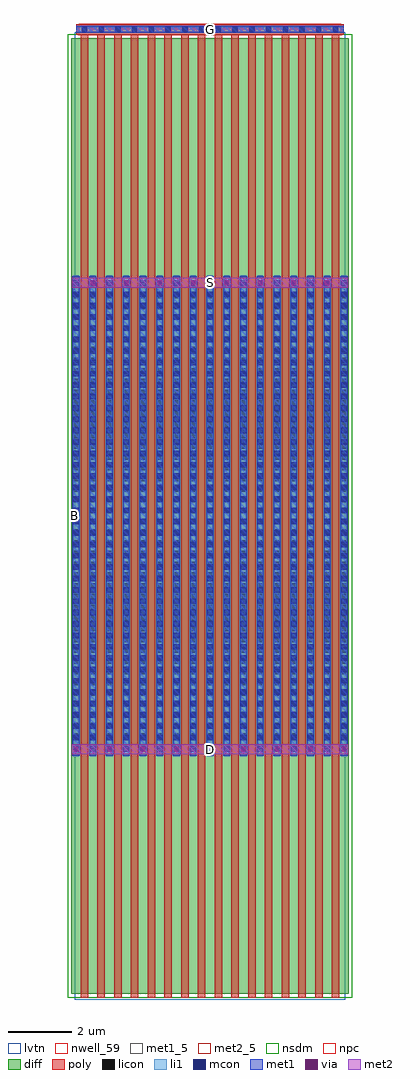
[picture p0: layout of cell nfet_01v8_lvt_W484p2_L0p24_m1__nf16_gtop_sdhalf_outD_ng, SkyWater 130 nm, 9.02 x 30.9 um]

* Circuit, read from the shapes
.subckt nfet_01v8_lvt_W484p2_L0p24_m1__nf16_gtop_sdhalf_outD_ng B D G S
XM1 S G D B sky130_fd_pr__nfet_01v8_lvt w=30.26 l=0.24 m=16
.ends

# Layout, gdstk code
import gdstk
lib = gdstk.Library(unit=1e-6, precision=1e-09)
def R(c, l, rs):  # rectangles x0, y0, x1, y1
    for r in rs: c.add(gdstk.rectangle(r[:2], r[2:], *l))
def A(c, l, x, y, w, h, nx, ny, dx, dy):  # array of equal rectangles
    R(c, l, [(x+i*dx, y+j*dy, x+i*dx+w, y+j*dy+h) for i in range(nx) for j in range(ny)])
nwell_59 = (64, 59)
diff = (65, 20)
poly = (66, 20)
licon = (66, 44)
li1 = (67, 20)
mcon = (67, 44)
met1_5 = (68, 5)
met1 = (68, 20)
via = (68, 44)
met2_5 = (69, 5)
met2 = (69, 20)
nsdm = (93, 44)
npc = (95, 20)
lvtn = (125, 44)

sky130_fd_pr__nfet_01v8_ = lib.new_cell('sky130_fd_pr__nfet_01v8_lvt_GABCE5')
R(sky130_fd_pr__nfet_01v8_, diff, [(-4.385,-15.285,4.385,14.975)])
A(sky130_fd_pr__nfet_01v8_, poly, -4.095, -15.415, 0.24, 30.5, 16, 1, 0.53, 0)
R(sky130_fd_pr__nfet_01v8_, poly, [(-4.24,15.085,4.24,15.415)])
A(sky130_fd_pr__nfet_01v8_, licon, -4.325, -7.55, 0.17, 0.17, 17, 44, 0.53, 0.34)
A(sky130_fd_pr__nfet_01v8_, licon, -4.06, 15.165, 0.17, 0.17, 16, 1, 0.53, 0)
A(sky130_fd_pr__nfet_01v8_, li1, -4.325, -7.77, 0.17, 15.23, 17, 1, 0.53, 0)
R(sky130_fd_pr__nfet_01v8_, li1, [(-4.24,15.165,4.24,15.335)])
A(sky130_fd_pr__nfet_01v8_, mcon, -4.325, -7.62, 0.17, 0.17, 17, 42, 0.53, 0.36)
A(sky130_fd_pr__nfet_01v8_, mcon, -4.06, 15.165, 0.17, 0.17, 16, 1, 0.53, 0)
A(sky130_fd_pr__nfet_01v8_, met1, -4.355, -7.75, 0.23, 15.19, 17, 1, 0.53, 0)
A(sky130_fd_pr__nfet_01v8_, met1, -4.12, 15.135, 0.29, 0.03, 16, 2, 0.53, 0.2)
R(sky130_fd_pr__nfet_01v8_, met1, [(-4.24,15.165,4.24,15.335)])
R(sky130_fd_pr__nfet_01v8_, nsdm, [(-4.51,-15.41,4.51,15.1)])
R(sky130_fd_pr__nfet_01v8_, npc, [(-4.16,15.065,4.16,15.435)])
R(sky130_fd_pr__nfet_01v8_, lvtn, [(-4.275,-15.465,4.275,15.155)])
sky130_fd_pr__nfet_01v8_.add(gdstk.Label('D0', (-4.24,-0.155), layer=67, texttype=5))
sky130_fd_pr__nfet_01v8_.add(gdstk.Label('G', (3.975,15.25), layer=67, texttype=5))
sky130_fd_pr__nfet_01v8_.add(gdstk.Label('G', (3.445,15.25), layer=67, texttype=5))
sky130_fd_pr__nfet_01v8_.add(gdstk.Label('G', (2.915,15.25), layer=67, texttype=5))
sky130_fd_pr__nfet_01v8_.add(gdstk.Label('G', (2.385,15.25), layer=67, texttype=5))
sky130_fd_pr__nfet_01v8_.add(gdstk.Label('G', (1.855,15.25), layer=67, texttype=5))
sky130_fd_pr__nfet_01v8_.add(gdstk.Label('G', (1.325,15.25), layer=67, texttype=5))
sky130_fd_pr__nfet_01v8_.add(gdstk.Label('G', (0.795,15.25), layer=67, texttype=5))
sky130_fd_pr__nfet_01v8_.add(gdstk.Label('G', (0.265,15.25), layer=67, texttype=5))
sky130_fd_pr__nfet_01v8_.add(gdstk.Label('G', (-0.265,15.25), layer=67, texttype=5))
sky130_fd_pr__nfet_01v8_.add(gdstk.Label('G', (-0.795,15.25), layer=67, texttype=5))
sky130_fd_pr__nfet_01v8_.add(gdstk.Label('G', (-1.325,15.25), layer=67, texttype=5))
sky130_fd_pr__nfet_01v8_.add(gdstk.Label('G', (-1.855,15.25), layer=67, texttype=5))
sky130_fd_pr__nfet_01v8_.add(gdstk.Label('G', (-2.385,15.25), layer=67, texttype=5))
sky130_fd_pr__nfet_01v8_.add(gdstk.Label('G', (-2.915,15.25), layer=67, texttype=5))
sky130_fd_pr__nfet_01v8_.add(gdstk.Label('G', (-3.445,15.25), layer=67, texttype=5))
sky130_fd_pr__nfet_01v8_.add(gdstk.Label('G', (-3.975,15.25), layer=67, texttype=5))
sky130_fd_pr__nfet_01v8_.add(gdstk.Label('S1', (-3.71,-0.155), layer=67, texttype=5))
sky130_fd_pr__nfet_01v8_.add(gdstk.Label('D2', (-3.18,-0.155), layer=67, texttype=5))
sky130_fd_pr__nfet_01v8_.add(gdstk.Label('S3', (-2.65,-0.155), layer=67, texttype=5))
sky130_fd_pr__nfet_01v8_.add(gdstk.Label('D4', (-2.12,-0.155), layer=67, texttype=5))
sky130_fd_pr__nfet_01v8_.add(gdstk.Label('S5', (-1.59,-0.155), layer=67, texttype=5))
sky130_fd_pr__nfet_01v8_.add(gdstk.Label('D6', (-1.06,-0.155), layer=67, texttype=5))
sky130_fd_pr__nfet_01v8_.add(gdstk.Label('S7', (-0.53,-0.155), layer=67, texttype=5))
sky130_fd_pr__nfet_01v8_.add(gdstk.Label('D8', (0,-0.155), layer=67, texttype=5))
sky130_fd_pr__nfet_01v8_.add(gdstk.Label('S9', (0.53,-0.155), layer=67, texttype=5))
sky130_fd_pr__nfet_01v8_.add(gdstk.Label('D10', (1.06,-0.155), layer=67, texttype=5))
sky130_fd_pr__nfet_01v8_.add(gdstk.Label('S11', (1.59,-0.155), layer=67, texttype=5))
sky130_fd_pr__nfet_01v8_.add(gdstk.Label('D12', (2.12,-0.155), layer=67, texttype=5))
sky130_fd_pr__nfet_01v8_.add(gdstk.Label('S13', (2.65,-0.155), layer=67, texttype=5))
sky130_fd_pr__nfet_01v8_.add(gdstk.Label('D14', (3.18,-0.155), layer=67, texttype=5))
sky130_fd_pr__nfet_01v8_.add(gdstk.Label('S15', (3.71,-0.155), layer=67, texttype=5))

nfet_01v8_lvt_w484p2_l0p = lib.new_cell('nfet_01v8_lvt_W484p2_L0p24_m1__nf16_gtop_sdhalf_outD_ng')
R(nfet_01v8_lvt_w484p2_l0p, nwell_59, [(0.05,15.21,0.15,15.31)])
R(nfet_01v8_lvt_w484p2_l0p, met1_5, [(0.145,30.55,8.625,30.78)])
A(nfet_01v8_lvt_w484p2_l0p, met1, 0.015, 7.715, 0.26, 0.32, 9, 1, 1.06, 0)
A(nfet_01v8_lvt_w484p2_l0p, met1, 0.545, 22.485, 0.26, 0.32, 8, 1, 1.06, 0)
R(nfet_01v8_lvt_w484p2_l0p, met1, [(0.145,30.55,8.625,30.78)])
A(nfet_01v8_lvt_w484p2_l0p, via, 0.07, 7.8, 0.15, 0.15, 9, 1, 1.06, 0)
A(nfet_01v8_lvt_w484p2_l0p, via, 0.6, 22.57, 0.15, 0.15, 8, 1, 1.06, 0)
R(nfet_01v8_lvt_w484p2_l0p, met2_5, [(0.01,7.715,8.76,8.035), (0.01,22.485,8.76,22.805)])
R(nfet_01v8_lvt_w484p2_l0p, met2, [(0.01,7.715,8.76,8.035), (0.01,22.485,8.76,22.805)])
nfet_01v8_lvt_w484p2_l0p.add(gdstk.Reference(sky130_fd_pr__nfet_01v8_, (4.385,15.415)))
nfet_01v8_lvt_w484p2_l0p.add(gdstk.Label('S', (4.385,22.645), layer=69, texttype=5))
nfet_01v8_lvt_w484p2_l0p.add(gdstk.Label('D', (4.385,7.875), layer=69, texttype=5))
nfet_01v8_lvt_w484p2_l0p.add(gdstk.Label('G', (4.385,30.665), layer=68, texttype=5))
nfet_01v8_lvt_w484p2_l0p.add(gdstk.Label('B', (0.1,15.26), layer=64, texttype=59))

lib.write_gds('nfet_01v8_lvt_W484p2_L0p24_m1__nf16_gtop_sdhalf_outD_ng.gds')
